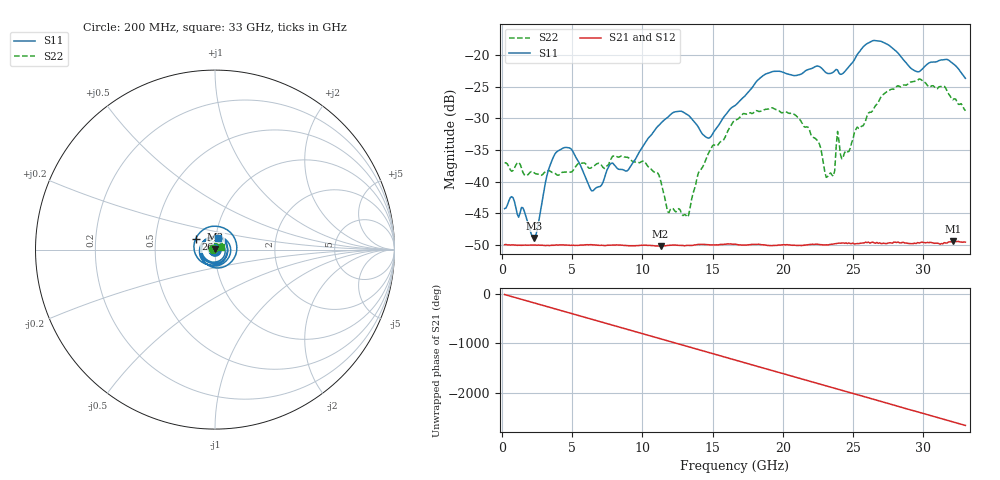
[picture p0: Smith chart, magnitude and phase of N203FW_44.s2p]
# GHZ S RI R 50
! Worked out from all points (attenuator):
!   329 points, 200 MHz to 33 GHz, reference 50 ohm
!   highest |S21| = -49.44 dB at 32.1 GHz (marker M1); lowest = -50.2 dB at 11.3 GHz (marker M2)
!   lowest |S11| = -48.9 dB at 2.3 GHz (marker M3), VSWR 1.01, Z = 50.2 + j0.315 ohm
!   |S11| at or under -10 dB: start of sweep to end of sweep
!   |S22| runs from -45.6 to -23.8 dB; largest |S21 - S12| = 8.7e-05
!   S11 on the Smith chart (normalised r, x): 200 MHz: 1.01, -0.00; 26 GHz: 0.80, +0.10; 33 GHz: 1.03, +0.13
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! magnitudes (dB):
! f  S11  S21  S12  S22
! 200 MHz  -44.3  -50.0  -49.9  -37.0
! 800 MHz  -42.5  -50.0  -50.0  -38.2
! 2.3 GHz  -48.9  -50.0  -50.0  -38.6
! 3.8 GHz  -35.6  -50.0  -50.0  -38.7
! 5.7 GHz  -37.9  -50.0  -50.0  -37.1
! 6.5 GHz  -41.4  -50.0  -50.0  -37.6
! 11.2 GHz  -31.0  -50.2  -50.2  -39.0
! 11.3 GHz  -30.8  -50.2  -50.2  -39.8
! 11.8 GHz  -29.8  -50.1  -50.1  -44.7
! 13.2 GHz  -29.4  -50.1  -50.1  -45.6
! 14.7 GHz  -33.1  -50.0  -49.9  -35.6
! 16.6 GHz  -28.0  -49.9  -49.9  -30.3
! 19.3 GHz  -22.6  -50.1  -50.1  -28.3
! 22.1 GHz  -22.1  -49.9  -49.9  -32.8
! 23.6 GHz  -22.7  -49.8  -49.8  -39.1
! 23.9 GHz  -22.3  -49.8  -49.8  -32.1
! 24.2 GHz  -23.0  -49.7  -49.6  -36.4
! 26 GHz  -18.2  -49.6  -49.6  -29.6
! 27.6 GHz  -18.5  -49.7  -49.7  -25.5
! 29.5 GHz  -22.6  -49.8  -49.6  -24.1
! 32.1 GHz  -21.3  -49.4  -49.4  -27.0
! 33 GHz  -23.6  -49.6  -49.6  -28.8
